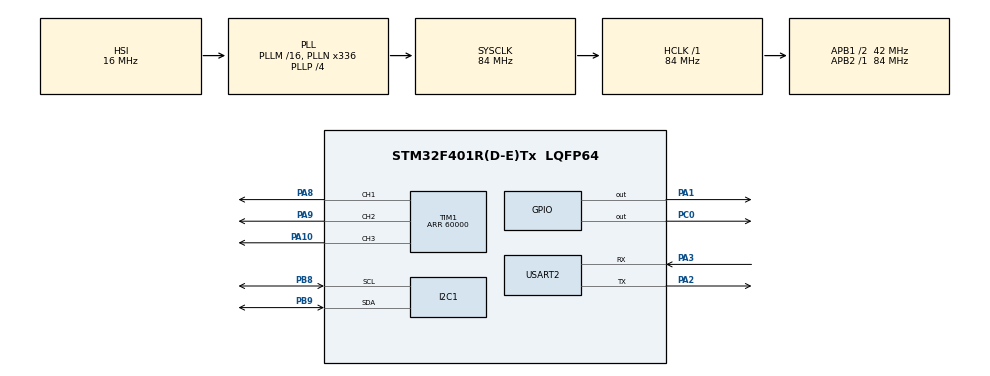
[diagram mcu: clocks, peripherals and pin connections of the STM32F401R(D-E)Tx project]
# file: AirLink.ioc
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Mcu.Family=STM32F4
Mcu.Name=STM32F401R(D-E)Tx
Mcu.Package=LQFP64
NVIC.PriorityGroup=NVIC_PRIORITYGROUP_0
PA1.Signal=GPIO_Output
PA10.Signal=S_TIM1_CH3
PA2.Mode=Asynchronous
PA2.Signal=USART2_TX
PA3.Mode=Asynchronous
PA3.Signal=USART2_RX
PA8.Signal=S_TIM1_CH1
PA9.Signal=S_TIM1_CH2
PB8.Mode=I2C
PB8.Signal=I2C1_SCL
PB9.Mode=I2C
PB9.Signal=I2C1_SDA
PC0.Signal=GPIO_Output
PC14-OSC32_IN.Mode=LSE-External-Oscillator
PC14-OSC32_IN.Signal=RCC_OSC32_IN
PC15-OSC32_OUT.Mode=LSE-External-Oscillator
PC15-OSC32_OUT.Signal=RCC_OSC32_OUT
PH0\ -\ OSC_IN.Mode=HSE-External-Clock-Source
PH0\ -\ OSC_IN.Signal=RCC_OSC_IN
PH1\ -\ OSC_OUT.Mode=HSE-External-Clock-Source
PH1\ -\ OSC_OUT.Signal=RCC_OSC_OUT
ProjectManager.HeapSize=0x200
ProjectManager.StackSize=0x400
ProjectManager.TargetToolchain=STM32CubeIDE
RCC.48MHZClocksFreq_Value=48000000
RCC.AHBFreq_Value=84000000
RCC.APB1CLKDivider=RCC_HCLK_DIV2
RCC.APB1Freq_Value=42000000
RCC.APB1TimFreq_Value=84000000
RCC.APB2Freq_Value=84000000
RCC.APB2TimFreq_Value=84000000
RCC.CortexFreq_Value=84000000
RCC.HCLKFreq_Value=84000000
RCC.HSE_VALUE=8000000
RCC.HSI_VALUE=16000000
RCC.PLLN=336
RCC.PLLP=RCC_PLLP_DIV4
RCC.PLLQ=7
RCC.SYSCLKFreq_VALUE=84000000
RCC.SYSCLKSource=RCC_SYSCLKSOURCE_PLLCLK
RCC.VCOOutputFreq_Value=336000000
SH.S_TIM1_CH1.0=TIM1_CH1,PWM Generation1 CH1
SH.S_TIM1_CH2.0=TIM1_CH2,PWM Generation2 CH2
SH.S_TIM1_CH3.0=TIM1_CH3,PWM Generation3 CH3
TIM1.Channel-PWM\ Generation1\ CH1=TIM_CHANNEL_1
TIM1.Channel-PWM\ Generation2\ CH2=TIM_CHANNEL_2
TIM1.Channel-PWM\ Generation3\ CH3=TIM_CHANNEL_3
TIM1.Period=60000
USART2.VirtualMode=VM_ASYNC
VP_TIM1_VS_ClockSourceINT.Mode=Internal
board=NUCLEO-F401RE

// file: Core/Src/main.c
/* USER CODE BEGIN Header */
/**
  ******************************************************************************
  * @file           : main.c
  * @brief          : Main program body
  ******************************************************************************
  * @attention
  *
  * Copyright (c) 2023 STMicroelectronics.
  * All rights reserved.
  *
  * This software is licensed under terms that can be found in the LICENSE file
  * in the root directory of this software component.
  * If no LICENSE file comes with this software, it is provided AS-IS.
  *
  ******************************************************************************
  */
/* USER CODE END Header */
#include "main.h"

/* USER CODE BEGIN Includes */
#include "DHT.h"
#include "liquidcrystal_i2c.h"
#include "stm32f4xx_hal.h"
/* USER CODE END Includes */

I2C_HandleTypeDef hi2c1;

TIM_HandleTypeDef htim1;

UART_HandleTypeDef huart2;

void SystemClock_Config(void);
static void MX_GPIO_Init(void);
static void MX_TIM1_Init(void);
static void MX_USART2_UART_Init(void);
static void MX_I2C1_Init(void);

/* USER CODE BEGIN 0 */
DHT_DataTypedef DHT22_Data;
/* USER CODE END 0 */

int main(void)
{

  /* MCU Configuration--------------------------------------------------------*/

  /* Reset of all peripherals, Initializes the Flash interface and the Systick. */
  HAL_Init();

  /* Configure the system clock */
  SystemClock_Config();

  /* Initialize all configured peripherals */
  MX_GPIO_Init();
  MX_TIM1_Init();
  MX_USART2_UART_Init();
  MX_I2C1_Init();
  /* USER CODE BEGIN 2 */

  float Temperature, Humidity;

  const uint8_t lvl1_warn = 0;
  const uint16_t lvl2_warn = 1000;
  const uint16_t lvl3_warn = 7500;
  const uint16_t lvl4_warn = 25000;
  const uint16_t lvl5_warn = 59999;

  HAL_TIM_PWM_Start(&htim1, TIM_CHANNEL_1);
  HAL_TIM_PWM_Start(&htim1, TIM_CHANNEL_2);
  HAL_TIM_PWM_Start(&htim1, TIM_CHANNEL_3);

  char temp_msg[25];
  char hum_msg[25];

  /* USER CODE END 2 */

  /* Infinite loop */
  /* USER CODE BEGIN WHILE */
  while (1)
  {
	  DHT_GetData(&DHT22_Data);
	  Temperature = DHT22_Data.Temperature;
	  Humidity = DHT22_Data.Humidity;

	  sprintf(temp_msg, "Temperature: %.2f", Temperature/10.00);
	  sprintf(hum_msg, "Humidity: %.2f", Humidity/10.00);

	  // TEMPERATURE
	  if ((Temperature >= 200) && (Temperature <= 260)){
			  __HAL_TIM_SET_COMPARE (& htim1, TIM_CHANNEL_1, lvl1_warn);
			  HAL_GPIO_WritePin(GPIOC, GPIO_PIN_0, RESET);
		  }
	  else if ((Temperature > 260 && Temperature <= 280) || (Temperature >= 180 && Temperature < 200)) {
			  __HAL_TIM_SET_COMPARE (& htim1, TIM_CHANNEL_1, lvl2_warn);
			  HAL_GPIO_WritePin(GPIOC, GPIO_PIN_0, SET);
		  }
	  else if ((Temperature > 280 && Temperature <= 300) || (Temperature >= 160 && Temperature < 180)) {
			  __HAL_TIM_SET_COMPARE (& htim1, TIM_CHANNEL_1, lvl3_warn);
			  HAL_GPIO_WritePin(GPIOC, GPIO_PIN_0, SET);
		  }
	  else if ((Temperature > 300 && Temperature <= 320) || (Temperature >= 140 && Temperature < 160)) {
			  __HAL_TIM_SET_COMPARE (& htim1, TIM_CHANNEL_1, lvl4_warn);
			  HAL_GPIO_WritePin(GPIOC, GPIO_PIN_0, SET);
		  }
	  else {
			  __HAL_TIM_SET_COMPARE (& htim1, TIM_CHANNEL_1, lvl5_warn);
			  HAL_GPIO_WritePin(GPIOC, GPIO_PIN_0, SET);
		  }

	  // HUMIDITY
	  if ((Humidity >= 300) && (Humidity <= 700)){
	 		  __HAL_TIM_SET_COMPARE (& htim1, TIM_CHANNEL_2, lvl1_warn);
	 		 HAL_GPIO_WritePin(GPIOC, GPIO_PIN_0, RESET);
	 	  }
	  else if ((Humidity > 700 && Humidity <= 775) || (Humidity >= 225 && Humidity < 300)) {
	 		  __HAL_TIM_SET_COMPARE (& htim1, TIM_CHANNEL_2, lvl2_warn);
	 		 HAL_GPIO_WritePin(GPIOC, GPIO_PIN_0, SET);
	 	  }
	  else if ((Humidity > 775 && Humidity <= 850) || (Humidity >= 150 && Humidity < 225)) {
	 		  __HAL_TIM_SET_COMPARE (& htim1, TIM_CHANNEL_2, lvl3_warn);
	 		 HAL_GPIO_WritePin(GPIOC, GPIO_PIN_0, SET);
	 	  }
	  else if ((Humidity > 850 && Humidity <= 925) || (Humidity >= 75 && Humidity < 150)) {
	 		  __HAL_TIM_SET_COMPARE (& htim1, TIM_CHANNEL_2, lvl4_warn);
	 		 HAL_GPIO_WritePin(GPIOC, GPIO_PIN_0, SET);
	 	  }
	  else {
	 		  __HAL_TIM_SET_COMPARE (& htim1, TIM_CHANNEL_2, lvl5_warn);
	 		 HAL_GPIO_WritePin(GPIOC, GPIO_PIN_0, SET);
	 	  }

	  HD44780_Init(4);
	  HAL_GPIO_TogglePin(GPIOD, GPIO_PIN_15);

	  HD44780_SetCursor(0,1);
	  HD44780_PrintStr(temp_msg);

	  HD44780_SetCursor(0,2);
	  HD44780_PrintStr(hum_msg);
	  HAL_Delay(1000);
    /* USER CODE END WHILE */

  }
}

void SystemClock_Config(void)
{
  RCC_OscInitTypeDef RCC_OscInitStruct = {0};
  RCC_ClkInitTypeDef RCC_ClkInitStruct = {0};

  /** Configure the main internal regulator output voltage
  */
  __HAL_RCC_PWR_CLK_ENABLE();
  __HAL_PWR_VOLTAGESCALING_CONFIG(PWR_REGULATOR_VOLTAGE_SCALE2);

  /** Initializes the RCC Oscillators according to the specified parameters
  * in the RCC_OscInitTypeDef structure.
  */
  RCC_OscInitStruct.OscillatorType = RCC_OSCILLATORTYPE_HSI;
  RCC_OscInitStruct.HSIState = RCC_HSI_ON;
  RCC_OscInitStruct.HSICalibrationValue = RCC_HSICALIBRATION_DEFAULT;
  RCC_OscInitStruct.PLL.PLLState = RCC_PLL_ON;
  RCC_OscInitStruct.PLL.PLLSource = RCC_PLLSOURCE_HSI;
  RCC_OscInitStruct.PLL.PLLM = 16;
  RCC_OscInitStruct.PLL.PLLN = 336;
  RCC_OscInitStruct.PLL.PLLP = RCC_PLLP_DIV4;
  RCC_OscInitStruct.PLL.PLLQ = 7;
  if (HAL_RCC_OscConfig(&RCC_OscInitStruct) != HAL_OK)
  {
    Error_Handler();
  }

  /** Initializes the CPU, AHB and APB buses clocks
  */
  RCC_ClkInitStruct.ClockType = RCC_CLOCKTYPE_HCLK|RCC_CLOCKTYPE_SYSCLK
                              |RCC_CLOCKTYPE_PCLK1|RCC_CLOCKTYPE_PCLK2;
  RCC_ClkInitStruct.SYSCLKSource = RCC_SYSCLKSOURCE_PLLCLK;
  RCC_ClkInitStruct.AHBCLKDivider = RCC_SYSCLK_DIV1;
  RCC_ClkInitStruct.APB1CLKDivider = RCC_HCLK_DIV2;
  RCC_ClkInitStruct.APB2CLKDivider = RCC_HCLK_DIV1;

  if (HAL_RCC_ClockConfig(&RCC_ClkInitStruct, FLASH_LATENCY_2) != HAL_OK)
  {
    Error_Handler();
  }
}

static void MX_I2C1_Init(void)
{

  hi2c1.Instance = I2C1;
  hi2c1.Init.ClockSpeed = 100000;
  hi2c1.Init.DutyCycle = I2C_DUTYCYCLE_2;
  hi2c1.Init.OwnAddress1 = 0;
  hi2c1.Init.AddressingMode = I2C_ADDRESSINGMODE_7BIT;
  hi2c1.Init.DualAddressMode = I2C_DUALADDRESS_DISABLE;
  hi2c1.Init.OwnAddress2 = 0;
  hi2c1.Init.GeneralCallMode = I2C_GENERALCALL_DISABLE;
  hi2c1.Init.NoStretchMode = I2C_NOSTRETCH_DISABLE;
  if (HAL_I2C_Init(&hi2c1) != HAL_OK)
  {
    Error_Handler();
  }

}

static void MX_TIM1_Init(void)
{

  TIM_ClockConfigTypeDef sClockSourceConfig = {0};
  TIM_MasterConfigTypeDef sMasterConfig = {0};
  TIM_OC_InitTypeDef sConfigOC = {0};
  TIM_BreakDeadTimeConfigTypeDef sBreakDeadTimeConfig = {0};

  htim1.Instance = TIM1;
  htim1.Init.Prescaler = 0;
  htim1.Init.CounterMode = TIM_COUNTERMODE_UP;
  htim1.Init.Period = 60000;
  htim1.Init.ClockDivision = TIM_CLOCKDIVISION_DIV1;
  htim1.Init.RepetitionCounter = 0;
  htim1.Init.AutoReloadPreload = TIM_AUTORELOAD_PRELOAD_DISABLE;
  if (HAL_TIM_Base_Init(&htim1) != HAL_OK)
  {
    Error_Handler();
  }
  sClockSourceConfig.ClockSource = TIM_CLOCKSOURCE_INTERNAL;
  if (HAL_TIM_ConfigClockSource(&htim1, &sClockSourceConfig) != HAL_OK)
  {
    Error_Handler();
  }
  if (HAL_TIM_PWM_Init(&htim1) != HAL_OK)
  {
    Error_Handler();
  }
  sMasterConfig.MasterOutputTrigger = TIM_TRGO_RESET;
  sMasterConfig.MasterSlaveMode = TIM_MASTERSLAVEMODE_DISABLE;
  if (HAL_TIMEx_MasterConfigSynchronization(&htim1, &sMasterConfig) != HAL_OK)
  {
    Error_Handler();
  }
  sConfigOC.OCMode = TIM_OCMODE_PWM1;
  sConfigOC.Pulse = 0;
  sConfigOC.OCPolarity = TIM_OCPOLARITY_HIGH;
  sConfigOC.OCNPolarity = TIM_OCNPOLARITY_HIGH;
  sConfigOC.OCFastMode = TIM_OCFAST_DISABLE;
  sConfigOC.OCIdleState = TIM_OCIDLESTATE_RESET;
  sConfigOC.OCNIdleState = TIM_OCNIDLESTATE_RESET;
  if (HAL_TIM_PWM_ConfigChannel(&htim1, &sConfigOC, TIM_CHANNEL_1) != HAL_OK)
  {
    Error_Handler();
  }
  if (HAL_TIM_PWM_ConfigChannel(&htim1, &sConfigOC, TIM_CHANNEL_2) != HAL_OK)
  {
    Error_Handler();
  }
  if (HAL_TIM_PWM_ConfigChannel(&htim1, &sConfigOC, TIM_CHANNEL_3) != HAL_OK)
  {
    Error_Handler();
  }
  sBreakDeadTimeConfig.OffStateRunMode = TIM_OSSR_DISABLE;
  sBreakDeadTimeConfig.OffStateIDLEMode = TIM_OSSI_DISABLE;
  sBreakDeadTimeConfig.LockLevel = TIM_LOCKLEVEL_OFF;
  sBreakDeadTimeConfig.DeadTime = 0;
  sBreakDeadTimeConfig.BreakState = TIM_BREAK_DISABLE;
  sBreakDeadTimeConfig.BreakPolarity = TIM_BREAKPOLARITY_HIGH;
  sBreakDeadTimeConfig.AutomaticOutput = TIM_AUTOMATICOUTPUT_DISABLE;
  if (HAL_TIMEx_ConfigBreakDeadTime(&htim1, &sBreakDeadTimeConfig) != HAL_OK)
  {
    Error_Handler();
  }
  HAL_TIM_MspPostInit(&htim1);

}

static void MX_USART2_UART_Init(void)
{

  huart2.Instance = USART2;
  huart2.Init.BaudRate = 115200;
  huart2.Init.WordLength = UART_WORDLENGTH_8B;
  huart2.Init.StopBits = UART_STOPBITS_1;
  huart2.Init.Parity = UART_PARITY_NONE;
  huart2.Init.Mode = UART_MODE_TX_RX;
  huart2.Init.HwFlowCtl = UART_HWCONTROL_NONE;
  huart2.Init.OverSampling = UART_OVERSAMPLING_16;
  if (HAL_UART_Init(&huart2) != HAL_OK)
  {
    Error_Handler();
  }

}

static void MX_GPIO_Init(void)
{
  GPIO_InitTypeDef GPIO_InitStruct = {0};

  /* GPIO Ports Clock Enable */
  __HAL_RCC_GPIOC_CLK_ENABLE();
  __HAL_RCC_GPIOH_CLK_ENABLE();
  __HAL_RCC_GPIOA_CLK_ENABLE();
  __HAL_RCC_GPIOB_CLK_ENABLE();

  /*Configure GPIO pin Output Level */
  HAL_GPIO_WritePin(GPIOC, GPIO_PIN_0, GPIO_PIN_RESET);

  /*Configure GPIO pin Output Level */
  HAL_GPIO_WritePin(GPIOA, GPIO_PIN_1, GPIO_PIN_RESET);

  /*Configure GPIO pin : PC0 */
  GPIO_InitStruct.Pin = GPIO_PIN_0;
  GPIO_InitStruct.Mode = GPIO_MODE_OUTPUT_PP;
  GPIO_InitStruct.Pull = GPIO_NOPULL;
  GPIO_InitStruct.Speed = GPIO_SPEED_FREQ_LOW;
  HAL_GPIO_Init(GPIOC, &GPIO_InitStruct);

  /*Configure GPIO pin : PA1 */
  GPIO_InitStruct.Pin = GPIO_PIN_1;
  GPIO_InitStruct.Mode = GPIO_MODE_OUTPUT_PP;
  GPIO_InitStruct.Pull = GPIO_NOPULL;
  GPIO_InitStruct.Speed = GPIO_SPEED_FREQ_LOW;
  HAL_GPIO_Init(GPIOA, &GPIO_InitStruct);

}

void Error_Handler(void)
{
  __disable_irq();
  while (1)
  {
  }
}
